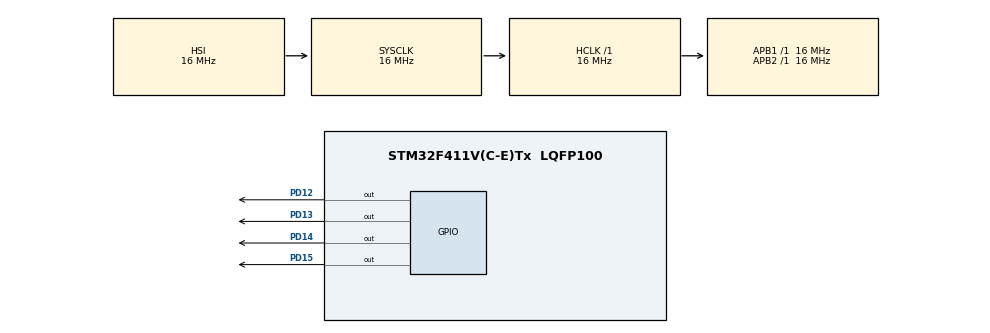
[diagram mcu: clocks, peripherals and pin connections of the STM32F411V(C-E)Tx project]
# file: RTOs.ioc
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FREERTOS.CountingSemaphores01=myCountingSem01,4,Dynamic,NULL
FREERTOS.Events01=read_sensor_status,Dynamic,NULL
FREERTOS.Mutexes01=UART_lock,Dynamic,NULL
FREERTOS.Queues01=temp_queue,16,float,0,Dynamic,NULL,NULL
FREERTOS.Tasks01=defaultTask,24,128,send_data_task,Default,NULL,Dynamic,NULL,NULL;myTask02,32,128,read_temp_ss_task,Default,NULL,Dynamic,NULL,NULL;task_helloTask,8,128,print_hello_func,Default,NULL,Dynamic,NULL,NULL;putQueue,8,128,StartTask04,Default,NULL,Dynamic,NULL,NULL
FREERTOS.Timers01=myTimer01,Callback_timer,osTimerPeriodic,Default,NULL,Dynamic,NULL
Mcu.Family=STM32F4
Mcu.Name=STM32F411V(C-E)Tx
Mcu.Package=LQFP100
NVIC.PriorityGroup=NVIC_PRIORITYGROUP_4
PA13.Mode=Serial_Wire
PA13.Signal=SYS_JTMS-SWDIO
PA14.Mode=Serial_Wire
PA14.Signal=SYS_JTCK-SWCLK
PD12.Signal=GPIO_Output
PD13.Signal=GPIO_Output
PD14.Signal=GPIO_Output
PD15.Signal=GPIO_Output
ProjectManager.HeapSize=0x200
ProjectManager.StackSize=0x400
ProjectManager.TargetToolchain=STM32CubeIDE
RCC.AHBFreq_Value=16000000
RCC.APB1Freq_Value=16000000
RCC.APB2Freq_Value=16000000
RCC.CortexFreq_Value=16000000
RCC.HSE_VALUE=25000000
RCC.HSI_VALUE=16000000
RCC.LSE_VALUE=32768
RCC.SYSCLKFreq_VALUE=16000000
RCC.VCOOutputFreq_Value=192000000
VP_FREERTOS_VS_CMSIS_V2.Mode=CMSIS_V2
board=custom

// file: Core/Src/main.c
/* USER CODE BEGIN Header */
/**
  ******************************************************************************
  * @file           : main.c
  * @brief          : Main program body
  ******************************************************************************
  * @attention
  *
  * Copyright (c) 2023 STMicroelectronics.
  * All rights reserved.
  *
  * This software is licensed under terms that can be found in the LICENSE file
  * in the root directory of this software component.
  * If no LICENSE file comes with this software, it is provided A S-IS.
  *
  ******************************************************************************
  */
/* USER CODE END Header */
#include "main.h"
#include "cmsis_os.h"

/* USER CODE BEGIN Includes */
#include<stdio.h>
#include<string.h>
//ham format du lieu

/* USER CODE END Includes */

/* USER CODE BEGIN PTD */
#define READ_SENSOR_DONE 1

/* USER CODE END PTD */

/* USER CODE BEGIN PM */
float temp_global = 0;// tu khoa volatile khi he thong nhieu loi, da loi,, o day la bien arm co mot loi nen co the dung 1 loi
/* USER CODE END PM */

/* Definitions for defaultTask */
osThreadId_t defaultTaskHandle;
const osThreadAttr_t defaultTask_attributes = {
  .name = "defaultTask",
  .stack_size = 128 * 4,
  .priority = (osPriority_t) osPriorityNormal,
};
/* Definitions for myTask02 */
osThreadId_t myTask02Handle;
const osThreadAttr_t myTask02_attributes = {
  .name = "myTask02",
  .stack_size = 128 * 4,
  .priority = (osPriority_t) osPriorityAboveNormal,
};
/* Definitions for task_helloTask */
osThreadId_t task_helloTaskHandle;
const osThreadAttr_t task_helloTask_attributes = {
  .name = "task_helloTask",
  .stack_size = 128 * 4,
  .priority = (osPriority_t) osPriorityLow,
};
/* Definitions for putQueue */
osThreadId_t putQueueHandle;
const osThreadAttr_t putQueue_attributes = {
  .name = "putQueue",
  .stack_size = 128 * 4,
  .priority = (osPriority_t) osPriorityLow,
};
/* Definitions for temp_queue */
osMessageQueueId_t temp_queueHandle;
const osMessageQueueAttr_t temp_queue_attributes = {
  .name = "temp_queue"
};
/* Definitions for myTimer01 */
osTimerId_t myTimer01Handle;
const osTimerAttr_t myTimer01_attributes = {
  .name = "myTimer01"
};
/* Definitions for UART_lock */
osMutexId_t UART_lockHandle;
const osMutexAttr_t UART_lock_attributes = {
  .name = "UART_lock"
};
/* Definitions for myCountingSem01 */
osSemaphoreId_t myCountingSem01Handle;
const osSemaphoreAttr_t myCountingSem01_attributes = {
  .name = "myCountingSem01"
};
/* Definitions for read_sensor_status */
osEventFlagsId_t read_sensor_statusHandle;
const osEventFlagsAttr_t read_sensor_status_attributes = {
  .name = "read_sensor_status"
};
/* USER CODE BEGIN PV */
float temp = 0;

void ADC_Init()
{
	__HAL_RCC_GPIOA_CLK_ENABLE();
	uint32_t* MODER = (uint32_t*)0x40020000;
	*MODER |= (0b11<<0);

	__HAL_RCC_ADC1_CLK_ENABLE();
	uint32_t* SMPR1 = (uint32_t*)0x4001200c;
	*SMPR1 |= (0b111<<18);
	uint32_t* SMPR2 = (uint32_t*)0x40012010;
	*SMPR2 |= (0b111<<0);

	uint32_t* JSQR = (uint32_t*)0x40012038;
	*JSQR |= (16<<15); //set channel 16 (temp sensor)

//	uint32_t* CR1 = (uint32_t*)0x40012004;
	uint32_t* CR2 = (uint32_t*)0x40012008;
	*CR2 |= (0b01 << 20) |(1<<0);

	uint32_t* CCR = (uint32_t*)0x40012304;
	*CCR |= (1<<23);
}
uint16_t Read_ADC ()
{
	uint32_t* CR2 = (uint32_t*)0x40012008;
	*CR2 |= (1<<22);
	uint32_t* SR = (uint32_t*)0x40012000;
	while (((*SR >> 2)&1) == 0){osDelay(1);};
	*SR &=~(1<<2);

	uint32_t* JDR1 = (uint32_t*)0x4001203c;
	return *JDR1;
}

void UART_Init()
{
	__HAL_RCC_GPIOA_CLK_ENABLE();
	__HAL_RCC_USART2_CLK_ENABLE();

	uint32_t* GPIOA_MODER = (uint32_t*)0x40020000;
	*GPIOA_MODER &= ~(0b1111 << 4); // set PIN2,3
	*GPIOA_MODER |= (0b10 << 4) | (0b10 << 6);// Pin2,3 Analog
	uint32_t* GPIOA_AFRL = (uint32_t*)0x40020020;
	*GPIOA_AFRL |= (7 << 8) | (7 << 12);

	// set baud rate 9600
	uint32_t* UART2_BRR = (uint32_t*)0x40004408;
	*UART2_BRR = (104 << 4) | 3;

	//set 13 enable UART, set 2 r/w enable TX, set 3 r/w enable RX
	// set 5 enable Interrupt of UART
	//size 8 byte and check chan le
	uint32_t* UART2_CR1 = (uint32_t*)0x4000440c;
	*UART2_CR1 |= (0b1 << 13) | (0b1 << 2) | (0b1 << 3);// | (0b1 << 5);

	//set enable DMA of UART
//	uint32_t* UART2_CR3 = (uint32_t*)0x40004414;
//	*UART2_CR3 |= (0b1 << 6);
}

void UART_Send_1Byte(char data)
{
	uint32_t* DR = (uint32_t*)0x40004404;
	uint32_t* SR = (uint32_t*)0x40004400;
	while(((*SR >> 7)&1) !=1){osDelay(1);};
	*DR = data;
	while(((*SR >> 6)&1) !=1);
}

void UART_Send_Str(char* data)
{
	osMutexAcquire(UART_lockHandle, HAL_MAX_DELAY);
	int str_len = strlen(data);
	for(int i =0; i < str_len; i++)
	{
		UART_Send_1Byte( data [i]);
	}
	osMutexRelease(UART_lockHandle);
}

/* USER CODE END PV */

void SystemClock_Config(void);
static void MX_GPIO_Init(void);
void send_data_task(void *argument);
void read_temp_ss_task(void *argument);
void print_hello_func(void *argument);
void StartTask04(void *argument);
void Callback_timer(void *argument);

int main(void)
{

  /* MCU Configuration--------------------------------------------------------*/

  /* Reset of all peripherals, Initializes the Flash interface and the Systick. */
  HAL_Init();

  /* Configure the system clock */
  SystemClock_Config();

  /* Initialize all configured peripherals */
  MX_GPIO_Init();

  /* Init scheduler */
  osKernelInitialize();
  /* Create the mutex(es) */
  /* creation of UART_lock */
  UART_lockHandle = osMutexNew(&UART_lock_attributes);

  /* Create the semaphores(s) */
  /* creation of myCountingSem01 */
  myCountingSem01Handle = osSemaphoreNew(4, 4, &myCountingSem01_attributes);

  /* Create the timer(s) */
  /* creation of myTimer01 */
  myTimer01Handle = osTimerNew(Callback_timer, osTimerPeriodic, NULL, &myTimer01_attributes);

  /* Create the queue(s) */
  /* creation of temp_queue */
  temp_queueHandle = osMessageQueueNew (16, sizeof(float), &temp_queue_attributes);

  /* Create the thread(s) */
  /* creation of defaultTask */
  defaultTaskHandle = osThreadNew(send_data_task, NULL, &defaultTask_attributes);

  /* creation of myTask02 */
  myTask02Handle = osThreadNew(read_temp_ss_task, NULL, &myTask02_attributes);

  /* creation of task_helloTask */
  task_helloTaskHandle = osThreadNew(print_hello_func, NULL, &task_helloTask_attributes);

  /* creation of putQueue */
  putQueueHandle = osThreadNew(StartTask04, NULL, &putQueue_attributes);

  /* creation of read_sensor_status */
  read_sensor_statusHandle = osEventFlagsNew(&read_sensor_status_attributes);

  /* USER CODE BEGIN RTOS_EVENTS */
  /* add events, ... */
  osTimerStart(myTimer01Handle, 1000);
  /* USER CODE END RTOS_EVENTS */

  /* Start scheduler */
  osKernelStart();

  /* We should never get here as control is now taken by the scheduler */
  /* Infinite loop */
  while (1)
  {

  }
}

void SystemClock_Config(void)
{
  RCC_OscInitTypeDef RCC_OscInitStruct = {0};
  RCC_ClkInitTypeDef RCC_ClkInitStruct = {0};

  /** Configure the main internal regulator output voltage
  */
  __HAL_RCC_PWR_CLK_ENABLE();
  __HAL_PWR_VOLTAGESCALING_CONFIG(PWR_REGULATOR_VOLTAGE_SCALE1);

  /** Initializes the RCC Oscillators according to the specified parameters
  * in the RCC_OscInitTypeDef structure.
  */
  RCC_OscInitStruct.OscillatorType = RCC_OSCILLATORTYPE_HSI;
  RCC_OscInitStruct.HSIState = RCC_HSI_ON;
  RCC_OscInitStruct.HSICalibrationValue = RCC_HSICALIBRATION_DEFAULT;
  RCC_OscInitStruct.PLL.PLLState = RCC_PLL_NONE;
  if (HAL_RCC_OscConfig(&RCC_OscInitStruct) != HAL_OK)
  {
    Error_Handler();
  }

  /** Initializes the CPU, AHB and APB buses clocks
  */
  RCC_ClkInitStruct.ClockType = RCC_CLOCKTYPE_HCLK|RCC_CLOCKTYPE_SYSCLK
                              |RCC_CLOCKTYPE_PCLK1|RCC_CLOCKTYPE_PCLK2;
  RCC_ClkInitStruct.SYSCLKSource = RCC_SYSCLKSOURCE_HSI;
  RCC_ClkInitStruct.AHBCLKDivider = RCC_SYSCLK_DIV1;
  RCC_ClkInitStruct.APB1CLKDivider = RCC_HCLK_DIV1;
  RCC_ClkInitStruct.APB2CLKDivider = RCC_HCLK_DIV1;

  if (HAL_RCC_ClockConfig(&RCC_ClkInitStruct, FLASH_LATENCY_0) != HAL_OK)
  {
    Error_Handler();
  }
}

static void MX_GPIO_Init(void)
{
  GPIO_InitTypeDef GPIO_InitStruct = {0};

  /* GPIO Ports Clock Enable */
  __HAL_RCC_GPIOD_CLK_ENABLE();
  __HAL_RCC_GPIOA_CLK_ENABLE();

  /*Configure GPIO pin Output Level */
  HAL_GPIO_WritePin(GPIOD, GPIO_PIN_12|GPIO_PIN_13|GPIO_PIN_14|GPIO_PIN_15, GPIO_PIN_RESET);

  /*Configure GPIO pins : PD12 PD13 PD14 PD15 */
  GPIO_InitStruct.Pin = GPIO_PIN_12|GPIO_PIN_13|GPIO_PIN_14|GPIO_PIN_15;
  GPIO_InitStruct.Mode = GPIO_MODE_OUTPUT_PP;
  GPIO_InitStruct.Pull = GPIO_NOPULL;
  GPIO_InitStruct.Speed = GPIO_SPEED_FREQ_LOW;
  HAL_GPIO_Init(GPIOD, &GPIO_InitStruct);

}

void send_data_task(void *argument)
{
  /* USER CODE BEGIN 5 */

	UART_Init();
	float temp = 0;
  /* Infinite loop */
  for(;;)
  {
	  temp = temp_global;
	  osMessageQueueGet(temp_queueHandle, &temp,  osPriorityNormal , 10000);
	  char msg[32] = {0};
	  char frac = (int)((temp - (int)temp)*100);
	  sprintf(msg, "temp: %d.%d *C\r\n", (int)temp, frac);    //sprintf de format du lieu
	  UART_Send_Str(msg);
      osDelay(1000);
  }
  /* USER CODE END 5 */
}

void read_temp_ss_task(void *argument)
{
  /* USER CODE BEGIN read_temp_ss_task */
	ADC_Init();
	uint16_t data_raw =0; Read_ADC();
	float vin =0;

  /* Infinite loop */
  for(;;)
  {
//	  {int temp;}
	data_raw = Read_ADC();
	vin = (data_raw*3.0)/4095.0;
	temp = ((vin - 0.76) / 0.0025) + 25;
	osEventFlagsSet(read_sensor_statusHandle, READ_SENSOR_DONE);
	osMessageQueuePut(temp_queueHandle, &temp,  osPriorityNormal , 10000);
//	temp_global = temp; //= la gan ghi du lieu vung nho
    osDelay(1);
  }
  /* USER CODE END read_temp_ss_task */
}

void print_hello_func(void *argument)
{
  /* USER CODE BEGIN print_hello_func */
  /* Infinite loop */
  for(;;)
  {
	  UART_Send_Str("hello \r\n");
	  osDelay(1000);
  }
  /* USER CODE END print_hello_func */
}

void StartTask04(void *argument)
{
  /* USER CODE BEGIN StartTask04 */
  /* Infinite loop */

  for(;;)
  {
	  uint32_t flag_result = osEventFlagsWait(read_sensor_statusHandle, READ_SENSOR_DONE, osFlagsWaitAny, 10000);
	  if (flag_result == READ_SENSOR_DONE)
		  osMessageQueuePut(temp_queueHandle, &temp,  osPriorityNormal , 10000);
	  osDelay(1);
  }
  /* USER CODE END StartTask04 */
}

/* Callback_timer function */
void Callback_timer(void *argument)
{
  /* USER CODE BEGIN Callback_timer */
	static int cnt = 0;
	char msg[32] = {0};
	sprintf(msg, "[%d] %s: %d\r\n", __LINE__, __FUNCTION__, cnt);
	UART_Send_Str(msg);
	HAL_GPIO_TogglePin(GPIOD, GPIO_PIN_12);
	if (cnt++ >10)
		osTimerStop(myTimer01Handle);
  /* USER CODE END Callback_timer */
}

void Error_Handler(void)
{
  __disable_irq();
  while (1)
  {
  }
}
